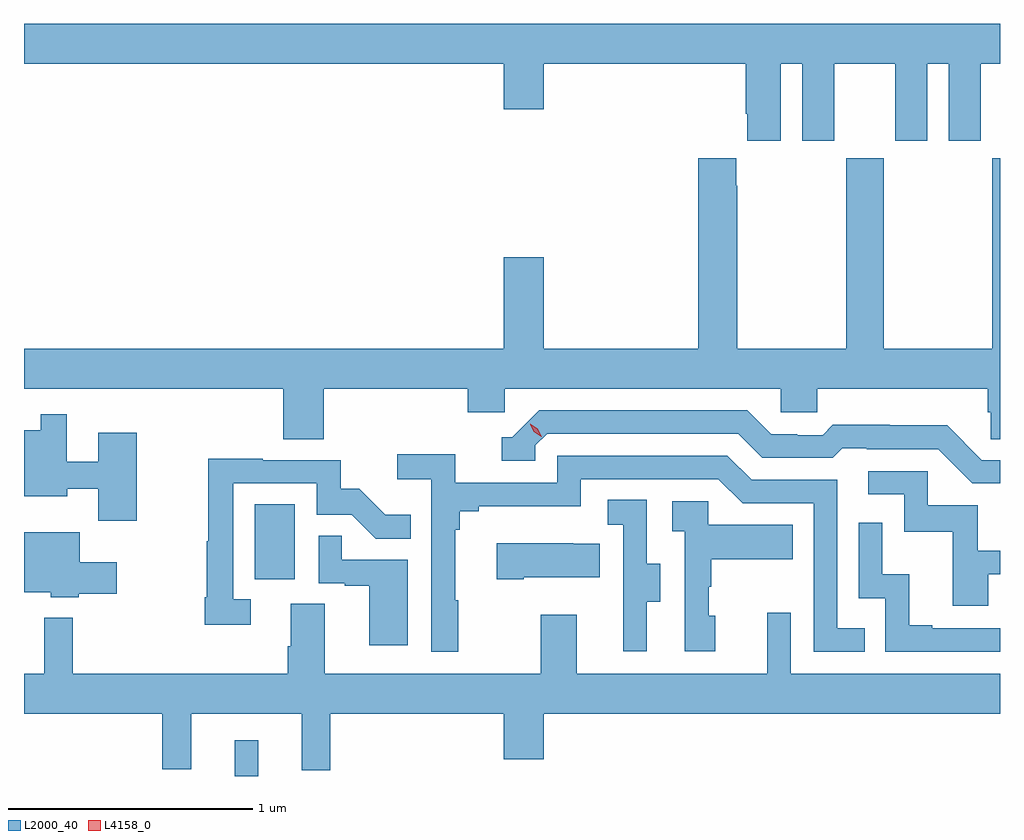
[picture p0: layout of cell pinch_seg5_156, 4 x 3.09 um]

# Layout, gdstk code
import gdstk
lib = gdstk.Library(unit=1e-6, precision=1e-09)
def R(c, l, rs):  # rectangles x0, y0, x1, y1
    for r in rs: c.add(gdstk.rectangle(r[:2], r[2:], *l))
def P(c, l, *ps):  # polygons
    for p in ps: c.add(gdstk.Polygon(p, *l))
L2000_40 = (2000, 40)
L4158_0 = (4158, 0)

pinch_seg5_156 = lib.new_cell('pinch_seg5_156')
R(pinch_seg5_156, L2000_40, [(1098.969,888.47,1099.066,888.619), (1099.052,889.278,1099.216,889.585)])
P(pinch_seg5_156, L2000_40, [(1101.208,891.392),(1101.296,891.392),(1101.296,891.075),(1101.427,891.075),(1101.427,891.392),(1101.677,891.392),(1101.677,891.075),(1101.808,891.075),(1101.808,891.392),(1101.896,891.392),(1101.896,891.075),(1102.027,891.075),(1102.027,891.392),(1102.106,891.392),(1102.106,891.556),(1098.106,891.556),(1098.106,891.392),(1100.072,891.392),(1100.072,891.204),(1100.236,891.204),(1100.236,891.392),(1101.065,891.392),(1101.065,891.187),(1101.071,891.187),(1101.071,891.075),(1101.208,891.075)],
  [(1099.334,890.06),(1099.925,890.06),(1099.925,889.962),(1100.076,889.962),(1100.076,890.06),(1101.207,890.06),(1101.207,889.962),(1101.357,889.962),(1101.357,890.06),(1102.055,890.06),(1102.055,889.962),(1102.069,889.962),(1102.069,889.852),(1102.106,889.852),(1102.106,891.004),(1102.075,891.004),(1102.075,890.224),(1101.63,890.224),(1101.63,891.004),(1101.475,891.004),(1101.475,890.224),(1101.03,890.224),(1101.03,890.891),(1101.025,890.891),(1101.025,891.004),(1100.87,891.004),(1100.87,890.224),(1100.236,890.224),(1100.236,890.599),(1100.072,890.599),(1100.072,890.224),(1098.106,890.224),(1098.106,890.06),(1099.169,890.06),(1099.169,889.852),(1099.334,889.852)],
  [(1102.106,889.767),(1102.032,889.767),(1101.89,889.909),(1101.654,889.909),(1101.654,889.912),(1101.421,889.912),(1101.379,889.869),(1101.276,889.869),(1101.276,889.872),(1101.169,889.872),(1101.07,889.971),(1100.217,889.971),(1100.106,889.86),(1100.063,889.86),(1100.063,889.764),(1100.202,889.764),(1100.202,889.827),(1100.25,889.875),(1101.033,889.875),(1101.132,889.776),(1101.421,889.776),(1101.46,889.815),(1101.559,889.815),(1101.559,889.812),(1101.852,889.812),(1101.993,889.671),(1102.106,889.671)],
  [(1098.568,889.879),(1098.41,889.879),(1098.41,889.759),(1098.282,889.759),(1098.282,889.954),(1098.174,889.954),(1098.174,889.888),(1098.106,889.888),(1098.106,889.619),(1098.283,889.619),(1098.283,889.649),(1098.41,889.649),(1098.41,889.518),(1098.568,889.518)],
  [(1099.885,889.193),(1099.873,889.193),(1099.873,889.481),(1099.892,889.481),(1099.892,889.558),(1099.969,889.558),(1099.969,889.577),(1100.388,889.577),(1100.388,889.689),(1100.952,889.689),(1101.051,889.59),(1101.342,889.59),(1101.342,888.981),(1101.551,888.981),(1101.551,889.077),(1101.438,889.077),(1101.438,889.686),(1101.088,889.686),(1100.989,889.785),(1100.292,889.785),(1100.292,889.674),(1099.874,889.674),(1099.874,889.79),(1099.635,889.79),(1099.635,889.688),(1099.776,889.688),(1099.776,888.981),(1099.885,888.981)],
  [(1099.036,889.197),(1098.963,889.197),(1098.963,889.671),(1099.305,889.671),(1099.305,889.542),(1099.449,889.542),(1099.547,889.444),(1099.691,889.444),(1099.691,889.543),(1099.587,889.543),(1099.48,889.65),(1099.404,889.65),(1099.404,889.767),(1099.085,889.767),(1099.085,889.772),(1098.862,889.772),(1098.862,889.434),(1098.855,889.434),(1098.855,889.204),(1098.847,889.204),(1098.847,889.092),(1099.036,889.092)],
  [(1102.057,889.299),(1102.106,889.299),(1102.106,889.395),(1102.015,889.395),(1102.015,889.581),(1101.81,889.581),(1101.81,889.722),(1101.567,889.722),(1101.567,889.626),(1101.714,889.626),(1101.714,889.473),(1101.913,889.473),(1101.913,889.17),(1102.057,889.17)],
  [(1100.659,889.186),(1100.713,889.186),(1100.713,889.341),(1100.658,889.341),(1100.658,889.604),(1100.499,889.604),(1100.499,889.501),(1100.562,889.501),(1100.562,889.197),(1100.561,889.197),(1100.561,888.984),(1100.659,888.984)],
  [(1100.938,889.128),(1100.913,889.128),(1100.913,889.247),(1100.923,889.247),(1100.923,889.361),(1101.257,889.361),(1101.257,889.501),(1100.91,889.501),(1100.91,889.599),(1100.763,889.599),(1100.763,889.475),(1100.814,889.475),(1100.814,888.984),(1100.938,888.984)],
  [(1102.106,889.077),(1101.829,889.077),(1101.829,889.09),(1101.734,889.09),(1101.734,889.298),(1101.624,889.298),(1101.624,889.51),(1101.528,889.51),(1101.528,889.2),(1101.636,889.2),(1101.636,888.981),(1102.106,888.981)],
  [(1098.33,889.219),(1098.487,889.219),(1098.487,889.348),(1098.334,889.348),(1098.334,889.471),(1098.106,889.471),(1098.106,889.226),(1098.216,889.226),(1098.216,889.205),(1098.33,889.205)],
  [(1099.678,889.359),(1099.409,889.359),(1099.409,889.457),(1099.314,889.457),(1099.314,889.263),(1099.421,889.263),(1099.421,889.251),(1099.52,889.251),(1099.52,889.008),(1099.678,889.008)],
  [(1100.155,889.286),(1100.465,889.286),(1100.465,889.423),(1100.357,889.423),(1100.357,889.426),(1100.043,889.426),(1100.043,889.279),(1100.155,889.279)],
  [(1101.152,889.141),(1101.152,888.892),(1100.371,888.892),(1100.371,889.132),(1100.224,889.132),(1100.224,888.892),(1099.339,888.892),(1099.339,889.178),(1099.199,889.178),(1099.199,889.004),(1099.187,889.004),(1099.187,888.892),(1098.305,888.892),(1098.305,889.12),(1098.188,889.12),(1098.188,888.892),(1098.106,888.892),(1098.106,888.728),(1098.673,888.728),(1098.673,888.5),(1098.791,888.5),(1098.791,888.728),(1099.244,888.728),(1099.244,888.495),(1099.361,888.495),(1099.361,888.728),(1100.072,888.728),(1100.072,888.54),(1100.236,888.54),(1100.236,888.728),(1102.106,888.728),(1102.106,888.892),(1101.249,888.892),(1101.249,889.141)])
P(pinch_seg5_156, L4158_0, [(1100.226,889.862),(1100.196,889.882),(1100.181,889.914),(1100.181,889.915),(1100.181,889.915),(1100.211,889.895),(1100.227,889.863),(1100.227,889.862)])

lib.write_gds('pinch_seg5_156.gds')
